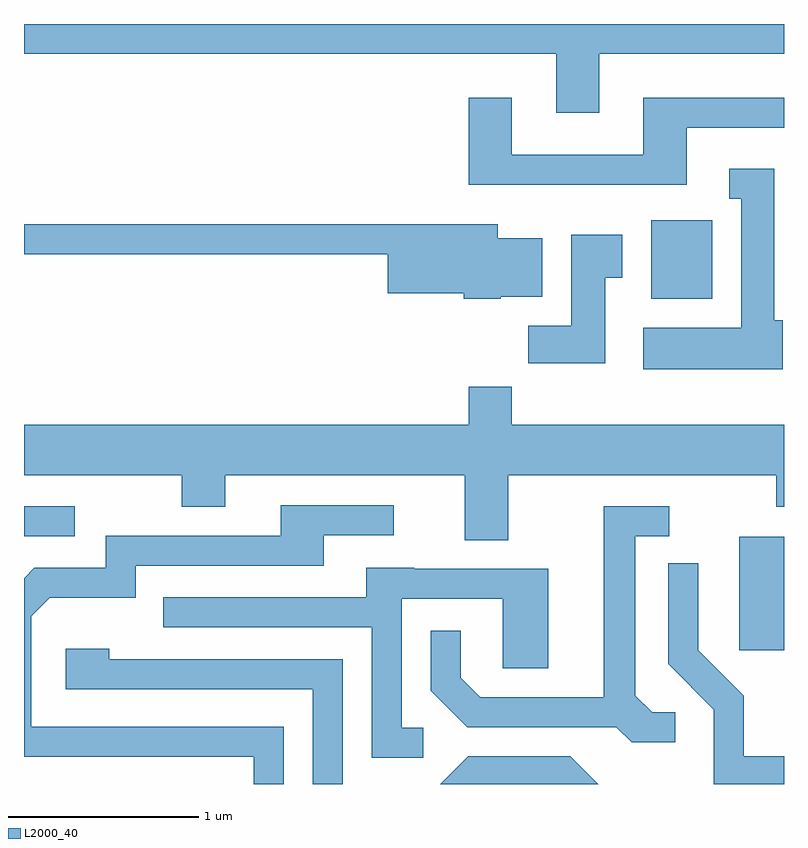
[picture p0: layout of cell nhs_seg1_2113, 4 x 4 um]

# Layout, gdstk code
import gdstk
lib = gdstk.Library(unit=1e-6, precision=1e-09)
def R(c, l, rs):  # rectangles x0, y0, x1, y1
    for r in rs: c.add(gdstk.rectangle(r[:2], r[2:], *l))
def P(c, l, *ps):  # polygons
    for p in ps: c.add(gdstk.Polygon(p, *l))
L2000_40 = (2000, 40)

nhs_seg1_2113 = lib.new_cell('nhs_seg1_2113')
R(nhs_seg1_2113, L2000_40, [(253.376,916.416,253.611,917.014), (249.611,917.016,249.878,917.174), (252.911,918.266,253.234,918.679)])
P(nhs_seg1_2113, L2000_40, [(252.639,919.556),(253.611,919.556),(253.611,919.712),(249.611,919.712),(249.611,919.556),(252.411,919.556),(252.411,919.246),(252.639,919.246)],
  [(253.099,919.166),(253.611,919.166),(253.611,919.324),(252.871,919.324),(252.871,919.024),(252.179,919.024),(252.179,919.324),(251.951,919.324),(251.951,918.866),(253.099,918.866)],
  [(253.604,918.154),(253.559,918.154),(253.559,918.949),(253.323,918.949),(253.323,918.791),(253.386,918.791),(253.386,918.114),(252.871,918.114),(252.871,917.896),(253.604,917.896)],
  [(252.12,918.276),(252.339,918.276),(252.339,918.584),(252.104,918.584),(252.104,918.659),(249.611,918.659),(249.611,918.501),(251.526,918.501),(251.526,918.296),(251.926,918.296),(251.926,918.266),(252.12,918.266)],
  [(252.669,918.376),(252.759,918.376),(252.759,918.604),(252.491,918.604),(252.491,918.124),(252.266,918.124),(252.266,917.926),(252.669,917.926)],
  [(252.159,917.336),(253.571,917.336),(253.571,917.171),(253.611,917.171),(253.611,917.604),(252.179,917.604),(252.179,917.804),(251.951,917.804),(251.951,917.604),(249.611,917.604),(249.611,917.336),(250.441,917.336),(250.441,917.171),(250.669,917.171),(250.669,917.336),(251.931,917.336),(251.931,916.996),(252.159,916.996)],
  [(250.979,916.014),(249.649,916.014),(249.649,916.594),(249.747,916.691),(250.199,916.691),(250.199,916.861),(251.189,916.861),(251.189,917.021),(251.558,917.021),(251.558,917.179),(250.961,917.179),(250.961,917.019),(250.041,917.019),(250.041,916.849),(249.664,916.849),(249.611,916.796),(249.611,915.856),(250.821,915.856),(250.821,915.712),(250.979,915.712)],
  [(253.038,916.089),(252.917,916.089),(252.829,916.177),(252.829,917.016),(253.008,917.016),(253.008,917.174),(252.661,917.174),(252.661,916.169),(252.012,916.169),(251.909,916.272),(251.909,916.518),(251.751,916.518),(251.751,916.204),(251.944,916.011),(252.729,916.011),(252.809,915.931),(253.038,915.931)],
  [(253.611,915.859),(253.399,915.859),(253.399,916.177),(253.159,916.417),(253.159,916.873),(253.001,916.873),(253.001,916.344),(253.241,916.104),(253.241,915.712),(253.611,915.712)],
  [(251.713,916.009),(251.599,916.009),(251.599,916.686),(252.131,916.686),(252.131,916.321),(252.369,916.321),(252.369,916.844),(251.665,916.844),(251.665,916.849),(251.411,916.849),(251.411,916.694),(250.343,916.694),(250.343,916.536),(251.441,916.536),(251.441,915.851),(251.713,915.851)],
  [(251.289,916.369),(250.059,916.369),(250.059,916.424),(249.831,916.424),(249.831,916.211),(251.131,916.211),(251.131,915.712),(251.289,915.712)],
  [(252.487,915.859),(251.949,915.859),(251.802,915.712),(252.634,915.712)])

lib.write_gds('nhs_seg1_2113.gds')
